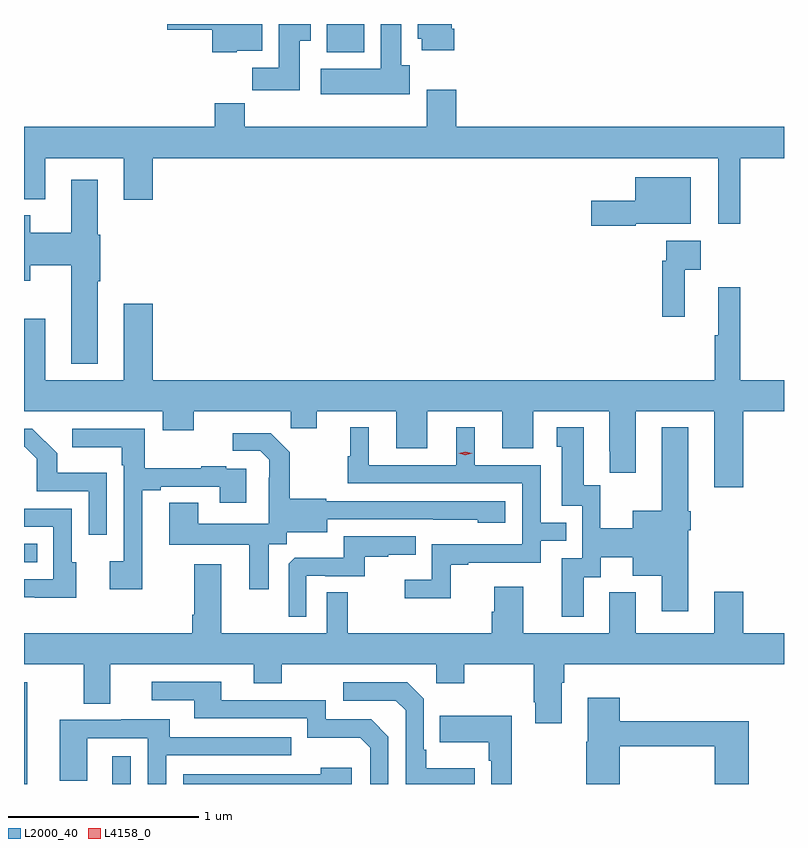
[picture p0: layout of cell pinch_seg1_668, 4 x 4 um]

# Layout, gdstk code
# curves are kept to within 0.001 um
import gdstk
lib = gdstk.Library(unit=1e-6, precision=1e-09)
def R(c, l, rs):  # rectangles x0, y0, x1, y1
    for r in rs: c.add(gdstk.rectangle(r[:2], r[2:], *l))
def P(c, l, *ps):  # polygons
    for p in ps: c.add(gdstk.Polygon(p, *l))
L2000_40 = (2000, 40)
L4158_0 = (4158, 0)

pinch_seg1_668 = lib.new_cell('pinch_seg1_668')
R(pinch_seg1_668, L2000_40, [(755.99,573.746,756.007,574.281), (756.455,573.746,756.552,573.892), (755.99,574.914,756.059,575.01), (757.583,577.598,757.78,577.746)])
P(pinch_seg1_668, L2000_40, [(757.11,577.604),(757.243,577.604),(757.243,577.746),(756.744,577.746),(756.744,577.715),(756.98,577.715),(756.98,577.598),(757.11,577.598)],
  [(758.02,577.53),(757.975,577.53),(757.975,577.746),(757.868,577.746),(757.868,577.51),(757.551,577.51),(757.551,577.376),(758.02,577.376)],
  [(757.441,577.657),(757.498,577.657),(757.498,577.746),(757.331,577.746),(757.331,577.516),(757.192,577.516),(757.192,577.398),(757.441,577.398)],
  [(758.255,577.72),(758.242,577.72),(758.242,577.746),(758.063,577.746),(758.063,577.668),(758.084,577.668),(758.084,577.608),(758.255,577.608)],
  [(759.761,577.04),(759.99,577.04),(759.99,577.204),(758.264,577.204),(758.264,577.399),(758.111,577.399),(758.111,577.204),(757.151,577.204),(757.151,577.328),(756.995,577.328),(756.995,577.204),(755.99,577.204),(755.99,576.824),(756.103,576.824),(756.103,577.04),(756.515,577.04),(756.515,576.822),(756.668,576.822),(756.668,577.04),(759.644,577.04),(759.644,576.696),(759.761,576.696)],
  [(759.21,576.695),(759.499,576.695),(759.499,576.94),(759.206,576.94),(759.206,576.817),(758.976,576.817),(758.976,576.683),(759.21,576.683)],
  [(756.379,576.392),(756.392,576.392),(756.392,576.636),(756.379,576.636),(756.379,576.925),(756.239,576.925),(756.239,576.648),(756.022,576.648),(756.022,576.739),(755.99,576.739),(755.99,576.395),(756.022,576.395),(756.022,576.476),(756.239,576.476),(756.239,575.957),(756.379,575.957)],
  [(759.467,576.452),(759.553,576.452),(759.553,576.604),(759.369,576.604),(759.369,576.5),(759.349,576.5),(759.349,576.204),(759.467,576.204)],
  [(759.776,575.708),(759.99,575.708),(759.99,575.872),(759.761,575.872),(759.761,576.361),(759.644,576.361),(759.644,576.108),(759.625,576.108),(759.625,575.872),(756.668,575.872),(756.668,576.274),(756.515,576.274),(756.515,575.872),(756.103,575.872),(756.103,576.196),(755.99,576.196),(755.99,575.708),(756.719,575.708),(756.719,575.609),(756.883,575.609),(756.883,575.708),(757.393,575.708),(757.393,575.618),(757.531,575.618),(757.531,575.708),(757.949,575.708),(757.949,575.514),(758.113,575.514),(758.113,575.708),(758.507,575.708),(758.507,575.514),(758.671,575.514),(758.671,575.708),(759.071,575.708),(759.071,575.497),(759.072,575.497),(759.072,575.385),(759.211,575.385),(759.211,575.708),(759.623,575.708),(759.623,575.307),(759.776,575.307)],
  [(758.235,574.899),(758.329,574.899),(758.329,574.911),(758.709,574.911),(758.709,575.025),(758.843,575.025),(758.843,575.121),(758.709,575.121),(758.709,575.424),(758.362,575.424),(758.362,575.623),(758.264,575.623),(758.264,575.424),(757.804,575.424),(757.804,575.623),(757.706,575.623),(757.706,575.472),(757.695,575.472),(757.695,575.328),(758.613,575.328),(758.613,575.007),(758.136,575.007),(758.136,574.822),(757.995,574.822),(757.995,574.724),(758.235,574.724)],
  [(758.935,574.834),(759.025,574.834),(759.025,574.94),(759.194,574.94),(759.194,574.841),(759.347,574.841),(759.347,574.656),(759.487,574.656),(759.487,575.081),(759.5,575.081),(759.5,575.181),(759.487,575.181),(759.487,575.623),(759.347,575.623),(759.347,575.185),(759.194,575.185),(759.194,575.092),(759.024,575.092),(759.024,575.319),(758.935,575.319),(758.935,575.623),(758.795,575.623),(758.795,575.52),(758.819,575.52),(758.819,575.211),(758.928,575.211),(758.928,574.935),(758.819,574.935),(758.819,574.626),(758.935,574.626)],
  [(756.613,575.292),(756.709,575.292),(756.709,575.31),(757.019,575.31),(757.019,575.226),(757.159,575.226),(757.159,575.406),(757.055,575.406),(757.055,575.419),(756.923,575.419),(756.923,575.408),(756.625,575.408),(756.625,575.616),(756.243,575.616),(756.243,575.519),(756.504,575.519),(756.504,575.423),(756.516,575.423),(756.516,574.918),(756.441,574.918),(756.441,574.77),(756.613,574.77)],
  [(756.426,575.383),(756.165,575.383),(756.165,575.486),(756.034,575.616),(755.99,575.616),(755.99,575.52),(755.994,575.52),(756.057,575.457),(756.057,575.286),(756.33,575.286),(756.33,575.058),(756.426,575.058)],
  [(757.279,575.008),(757.374,575.008),(757.374,575.072),(757.585,575.072),(757.585,575.139),(758.379,575.138),(758.379,575.12),(758.524,575.12),(758.524,575.235),(757.581,575.235),(757.581,575.248),(757.389,575.248),(757.389,575.493),(757.289,575.593),(757.089,575.593),(757.089,575.499),(757.233,575.499),(757.28,575.452),(757.28,575.357),(757.278,575.357),(757.278,575.116),(756.907,575.116),(756.907,575.225),(756.755,575.225),(756.755,575.006),(757.175,575.006),(757.175,574.77),(757.279,574.77)],
  [(756.265,574.914),(756.24,574.914),(756.24,575.196),(755.99,575.196),(755.99,575.1),(756.144,575.1),(756.144,574.824),(755.99,574.824),(755.99,574.728),(756.047,574.728),(756.047,574.727),(756.265,574.727)],
  [(757.476,574.842),(757.576,574.842),(757.576,574.839),(757.784,574.839),(757.784,574.941),(757.907,574.941),(757.907,574.952),(758.051,574.952),(758.051,575.049),(757.674,575.049),(757.674,574.937),(757.415,574.937),(757.383,574.905),(757.383,574.625),(757.476,574.625)],
  [(758.821,574.28),(758.834,574.28),(758.834,574.376),(759.99,574.376),(759.99,574.54),(759.776,574.54),(759.776,574.759),(759.623,574.759),(759.623,574.54),(759.211,574.54),(759.211,574.756),(759.071,574.756),(759.071,574.54),(758.617,574.54),(758.617,574.783),(758.465,574.783),(758.465,574.653),(758.453,574.653),(758.453,574.54),(757.693,574.54),(757.693,574.754),(757.584,574.754),(757.584,574.54),(757.027,574.54),(757.027,574.903),(756.887,574.903),(756.887,574.636),(756.875,574.636),(756.875,574.54),(755.99,574.54),(755.99,574.376),(756.305,574.376),(756.305,574.168),(756.445,574.168),(756.445,574.376),(757.199,574.376),(757.199,574.277),(757.347,574.277),(757.347,574.376),(758.16,574.376),(758.16,574.277),(758.307,574.277),(758.307,574.376),(758.674,574.376),(758.674,574.177),(758.681,574.177),(758.681,574.065),(758.821,574.065)],
  [(757.908,573.996),(757.818,574.086),(757.578,574.086),(757.578,574.188),(757.027,574.188),(757.027,574.284),(756.663,574.284),(756.663,574.188),(756.887,574.188),(756.887,574.092),(757.482,574.092),(757.482,573.989),(757.759,573.989),(757.812,573.936),(757.812,573.746),(757.908,573.746)],
  [(758.363,573.829),(758.107,573.829),(758.107,573.925),(758.094,573.925),(758.094,574.194),(758.007,574.281),(757.671,574.281),(757.671,574.185),(757.947,574.185),(757.998,574.134),(757.998,573.746),(758.363,573.746)],
  [(759.125,573.946),(759.626,573.946),(759.626,573.746),(759.804,573.746),(759.804,574.075),(759.125,574.075),(759.125,574.201),(758.957,574.201),(758.957,573.969),(758.95,573.969),(758.95,573.746),(759.125,573.746)],
  [(758.557,574.105),(758.179,574.105),(758.179,573.965),(758.436,573.965),(758.436,573.869),(758.448,573.869),(758.448,573.746),(758.557,573.746)],
  [(756.738,573.897),(757.397,573.897),(757.397,573.993),(756.757,573.993),(756.757,574.087),(756.503,574.087),(756.503,574.083),(756.179,574.083),(756.179,573.763),(756.324,573.763),(756.324,573.987),(756.642,573.987),(756.642,573.746),(756.738,573.746)],
  [(757.714,573.832),(757.553,573.832),(757.553,573.798),(756.828,573.798),(756.828,573.746),(757.714,573.746)])
P(pinch_seg1_668, L4158_0, [(758.313,575.476),(758.278,575.486),(758.277,575.486),(758.278,575.486),(758.313,575.496),(758.348,575.486),(758.349,575.486),(758.348,575.486)])

lib.write_gds('pinch_seg1_668.gds')
